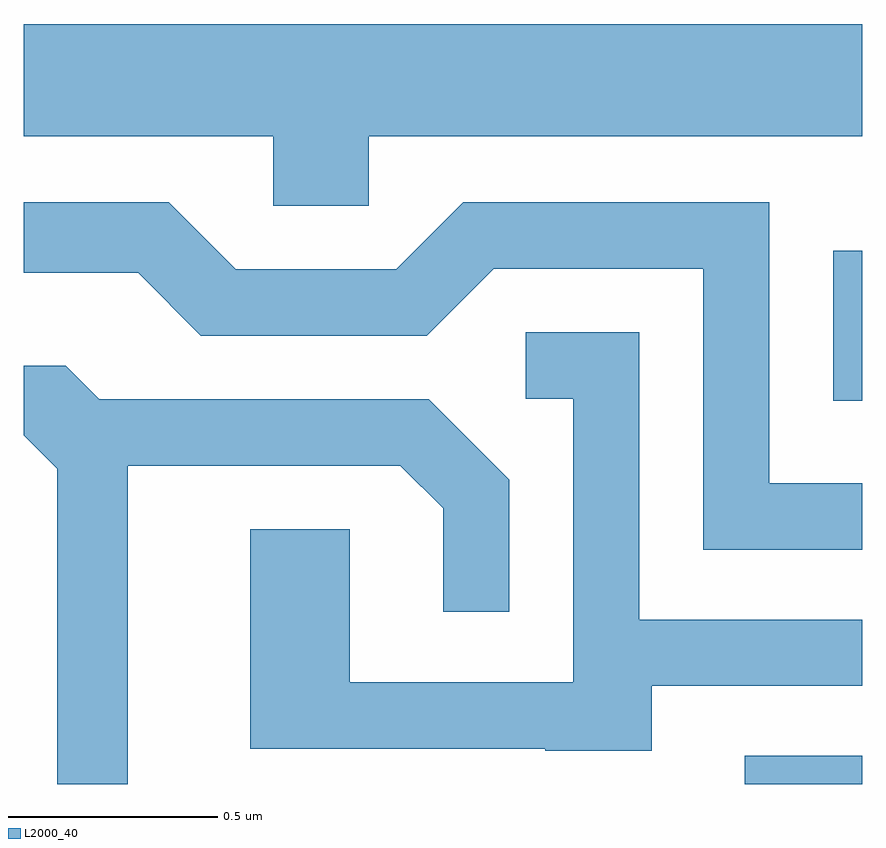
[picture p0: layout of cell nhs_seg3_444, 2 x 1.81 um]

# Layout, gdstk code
import gdstk
lib = gdstk.Library(unit=1e-6, precision=1e-09)
def R(c, l, rs):  # rectangles x0, y0, x1, y1
    for r in rs: c.add(gdstk.rectangle(r[:2], r[2:], *l))
def P(c, l, *ps):  # polygons
    for p in ps: c.add(gdstk.Polygon(p, *l))
L2000_40 = (2000, 40)

nhs_seg3_444 = lib.new_cell('nhs_seg3_444')
R(nhs_seg3_444, L2000_40, [(190.331,1148.892,190.611,1148.959), (190.541,1149.806,190.611,1150.163)])
P(nhs_seg3_444, L2000_40, [(189.434,1150.436),(190.611,1150.436),(190.611,1150.704),(188.611,1150.704),(188.611,1150.436),(189.206,1150.436),(189.206,1150.271),(189.434,1150.271)],
  [(190.611,1149.609),(190.389,1149.609),(190.389,1150.279),(189.659,1150.279),(189.499,1150.119),(189.117,1150.119),(188.957,1150.279),(188.611,1150.279),(188.611,1150.111),(188.884,1150.111),(189.034,1149.961),(189.572,1149.961),(189.732,1150.121),(190.231,1150.121),(190.231,1149.451),(190.611,1149.451)],
  [(190.109,1149.126),(190.611,1149.126),(190.611,1149.284),(190.079,1149.284),(190.079,1149.969),(189.808,1149.969),(189.808,1149.811),(189.921,1149.811),(189.921,1149.134),(189.389,1149.134),(189.389,1149.499),(189.151,1149.499),(189.151,1148.976),(189.855,1148.976),(189.855,1148.971),(190.109,1148.971)],
  [(188.859,1149.651),(189.509,1149.651),(189.611,1149.549),(189.611,1149.303),(189.769,1149.303),(189.769,1149.617),(189.577,1149.809),(188.792,1149.809),(188.712,1149.889),(188.611,1149.889),(188.611,1149.724),(188.691,1149.644),(188.691,1148.892),(188.859,1148.892)])

lib.write_gds('nhs_seg3_444.gds')
